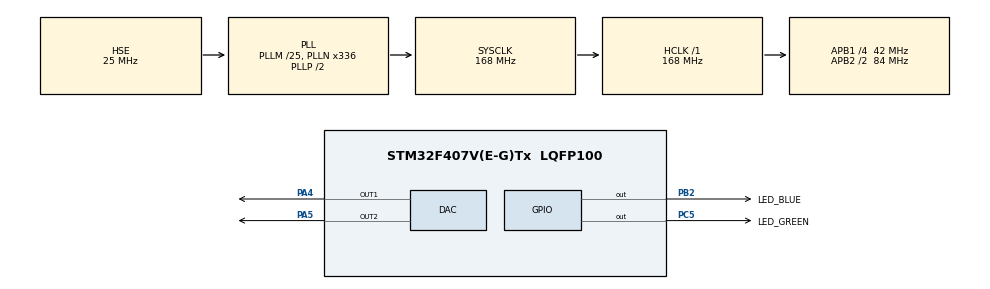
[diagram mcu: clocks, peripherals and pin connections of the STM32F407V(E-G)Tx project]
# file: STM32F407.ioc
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DAC.DAC_OutputBuffer=DAC_OUTPUTBUFFER_DISABLE
DAC.DAC_OutputBuffer2=DAC_OUTPUTBUFFER_DISABLE
DAC.DAC_Trigger=DAC_TRIGGER_T6_TRGO
DAC.DAC_Trigger2=DAC_TRIGGER_T6_TRGO
Dma.DAC1.0.Direction=DMA_MEMORY_TO_PERIPH
Dma.DAC1.0.FIFOMode=DMA_FIFOMODE_DISABLE
Dma.DAC1.0.Instance=DMA1_Stream5
Dma.DAC1.0.MemDataAlignment=DMA_MDATAALIGN_HALFWORD
Dma.DAC1.0.MemInc=DMA_MINC_ENABLE
Dma.DAC1.0.Mode=DMA_CIRCULAR
Dma.DAC1.0.PeriphDataAlignment=DMA_PDATAALIGN_HALFWORD
Dma.DAC1.0.PeriphInc=DMA_PINC_DISABLE
Dma.DAC1.0.Priority=DMA_PRIORITY_LOW
Dma.DAC2.1.Direction=DMA_MEMORY_TO_PERIPH
Dma.DAC2.1.FIFOMode=DMA_FIFOMODE_DISABLE
Dma.DAC2.1.Instance=DMA1_Stream6
Dma.DAC2.1.MemDataAlignment=DMA_MDATAALIGN_HALFWORD
Dma.DAC2.1.MemInc=DMA_MINC_ENABLE
Dma.DAC2.1.Mode=DMA_CIRCULAR
Dma.DAC2.1.PeriphDataAlignment=DMA_PDATAALIGN_HALFWORD
Dma.DAC2.1.PeriphInc=DMA_PINC_DISABLE
Dma.DAC2.1.Priority=DMA_PRIORITY_LOW
Dma.Request0=DAC1
Dma.Request1=DAC2
Mcu.Family=STM32F4
Mcu.Name=STM32F407V(E-G)Tx
Mcu.Package=LQFP100
NVIC.DMA1_Stream5_IRQn=true\:0\:0\:false\:false\:true\:false\:true\:true
NVIC.DMA1_Stream6_IRQn=true\:0\:0\:false\:false\:true\:false\:true\:true
NVIC.PriorityGroup=NVIC_PRIORITYGROUP_4
PA13.Mode=Serial_Wire
PA13.Signal=SYS_JTMS-SWDIO
PA14.Mode=Serial_Wire
PA14.Signal=SYS_JTCK-SWCLK
PA4.Signal=COMP_DAC1_group
PA5.Signal=COMP_DAC2_group
PB2.GPIO_Label=LED_BLUE
PB2.Signal=GPIO_Output
PC5.GPIO_Label=LED_GREEN
PC5.Signal=GPIO_Output
PH0-OSC_IN.Mode=HSE-External-Oscillator
PH0-OSC_IN.Signal=RCC_OSC_IN
PH1-OSC_OUT.Mode=HSE-External-Oscillator
PH1-OSC_OUT.Signal=RCC_OSC_OUT
ProjectManager.HeapSize=0x200
ProjectManager.StackSize=0x1000
ProjectManager.TargetToolchain=MDK-ARM V5.32
RCC.48MHZClocksFreq_Value=84000000
RCC.AHBFreq_Value=168000000
RCC.APB1CLKDivider=RCC_HCLK_DIV4
RCC.APB1Freq_Value=42000000
RCC.APB1TimFreq_Value=84000000
RCC.APB2CLKDivider=RCC_HCLK_DIV2
RCC.APB2Freq_Value=84000000
RCC.APB2TimFreq_Value=168000000
RCC.CortexFreq_Value=168000000
RCC.HCLKFreq_Value=168000000
RCC.HSE_VALUE=25000000
RCC.HSI_VALUE=16000000
RCC.LSE_VALUE=32768
RCC.PLLM=25
RCC.PLLN=336
RCC.PLLSourceVirtual=RCC_PLLSOURCE_HSE
RCC.SYSCLKFreq_VALUE=168000000
RCC.SYSCLKSource=RCC_SYSCLKSOURCE_PLLCLK
RCC.VCOOutputFreq_Value=336000000
SH.COMP_DAC1_group.0=DAC_OUT1,DAC_OUT1
SH.COMP_DAC2_group.0=DAC_OUT2,DAC_OUT2
TIM6.AutoReloadPreload=TIM_AUTORELOAD_PRELOAD_ENABLE
TIM6.Period=66-1
TIM6.TIM_MasterOutputTrigger=TIM_TRGO_UPDATE
VP_TIM6_VS_ClockSourceINT.Mode=Enable_Timer
board=custom

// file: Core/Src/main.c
/* USER CODE BEGIN Header */
/**==================================================================================================================
 ** 【代码编写】  魔女开发板团队
 ** 【淘    宝】  魔女开发板       https://demoboard.taobao.com
 **==================================================================================================================
 ** 【实验名称】  DAC + TIM6 + DMA 双通道正弦波输出
 **
 ** 【适用平台】  STM32F407 + CubeIDE + HAL库
 **
 ** 【实验目标】  1. 实现 PA4、PA5 双通道同步输出高精度正弦波
 **               2. 采用 168 点动态计算波形表，输出平滑无失真
 **               3. TIM6 硬件触发 + DMA 循环搬运，CPU 零占用
 **               4. 系统运行时 LED 周期性闪烁，指示工作状态
 **
 ** 【引脚接线】  DAC_OUT1 → PA4
 **               DAC_OUT2 → PA5
 **               系统运行指示灯 → PC5
 **
 ** 【 CubeMX 】  1. 开启 DAC 双通道，触发源选择 TIM6_TRGO
 **               2. 开启 TIM6 定时器，配置触发频率
 **               3. 开启 DMA 循环模式，配置存储器到外设传输
 **               4. 配置 UART1 用于调试打印
 **
 ** 【初 始 化】  1. 外设初始化由 CubeMX 自动生成
 **               2. 上电调用 DAC_SineStart() 启动波形输出
 **               3. 全程硬件自动运行，无需主循环干预
 **
 ** 【重点说明】  1. 正弦波数据动态生成，可灵活修改点数、幅值、偏置
 **               2. 输出范围 0~3.3V，12 位精度（0~4095）
 **               3. 波形频率由 TIM6 分频/重载值决定
 **               4. 双通道同步输出相同波形
 **
 ** 【移植说明】  1. 修改频率、波形 → 修改 DAC_SineStart里面的参数组合: WAVE_POINTS、MIN/MAX_VALUE 等
 **               2. 修改通道 → 开启对应 DAC 通道 DMA
 **
 ** 【更新记录】  2026-03-26  完善注释
 **
 ** 【备注说明】  版权归魔女科技所有，请勿商用，谢谢！
 **               https://demoboard.taobao.com
 **
==================================================================================================================**/
/* USER CODE END Header */
#include "main.h"
#include "dac.h"
#include "dma.h"
#include "tim.h"
#include "gpio.h"

/* USER CODE BEGIN Includes */
// 用户代码，必须写在配对的BEGIN与END注释之间; 否则,重新生成时会被自动删除;
#include "bsp_UART.h"         // UART通信

/* USER CODE END Includes */

void SystemClock_Config(void);

/* USER CODE BEGIN 0 */
// 用户代码，必须写在配对的BEGIN与END注释之间; 否则,重新生成时会被自动删除;

/******************************************************************************
 * 函数名 : DAC_SineStart
 * 功  能 : 启动DAC正弦波输出 (动态计算波形表)
 * 备  注 : 1. 波点数可通过宏定义WAVE_POINTS灵活调整;
 *          2. 波点数的取值，建议根据 TIM时钟频率即值，如84MHz时钟下，取值21、42、84、168等，能令公式整除，以达到精准的波形频率
 *          2. 输出幅值：[MIN_VALUE, MAX_VALUE]（默认 0-4095）
 *          3. 直流偏置：OFFSET（默认 0）
 *          4. TIM6 更新事件触发，DMA 循环模式
 *          5. 上电重新计算表，调试方便；若需提速，可在调试成型后改用 const 静态表
 * 参  数 : 无 (由函数内宏定义控制)
 * 返回值 : 无
 ******************************************************************************/
#include "math.h"

void DAC_SineStart(void)
{
    /* 1、定义参数 */
    #define WAVE_POINTS     168                      // 正弦数据点数; 取值建议根据 TIM时钟频率即值，如84MHz时钟下，取值21、42、84、168等，能令公式整除，以达到精准的波形频率
    #define MIN_VALUE         0                      // 正弦数据最小值; 即，波底的DAC值; 取值范围：0~4095 (对应0V~3.3V); 用于适配不同设备的工作安全范围，减少硬件电路的设计修改;
    #define MAX_VALUE      4095                      // 正弦数据最大值; 即，波顶的DAC值; 取值范围：0~4095 (对应0V~3.3V); 用于适配不同设备的工作安全范围，减少硬件电路的设计修改;
    #define OFFSET            0                      // 偏移量; 控制波形的直流偏置 (垂直位置)
    #define SCALE ((MAX_VALUE - MIN_VALUE) / 2.0)    // 缩放系数; 控制波形的幅度 (振幅大小)

    /* 2、开辟缓存 */
    static uint16_t sineData[WAVE_POINTS] = { 0 };   // 存储正弦波点值

    /* 3、生成无缝正弦表
          计算法：上电实时算表
          优点：调试阶段可随时改 WAVE_POINTS / MIN / MAX，方便灵活调试出需要的波形、振幅
          缺点：每次上电运行都得跑一遍 sin()，启动时间随点数线性增加; 调试定型后建议改用 const 静态表，上电即用，零计算延时
    */
    for (uint16_t i = 0; i < WAVE_POINTS; i++)
    {
        double x = (double)i * (2.0 * 3.14159265 / WAVE_POINTS);              // 周期内均匀采样; 将索引转换为0到2π之间的值
        double sinValue = sin(x);                                             // 计算正弦值
        sineData[i] = (uint16_t)(lround((sinValue + 1.0) * SCALE + OFFSET));  // 缩放和平移正弦值

    }

    /* 4、启动 TIM */
    HAL_TIM_Base_Start(&htim6);                                               // 启动TIM。每个更新事件(计数达到一周期)，由硬件发出脉冲信号触发DAC转换一次

    /* 5、启动DAC的DMA传输 */
    HAL_DAC_Start_DMA(&hdac, DAC_CHANNEL_1, (uint32_t *)sineData, WAVE_POINTS, DAC_ALIGN_12B_R);    // 启动DAC通道1的DMA传输，数据输出至PA4引脚
    HAL_DAC_Start_DMA(&hdac, DAC_CHANNEL_2, (uint32_t *)sineData, WAVE_POINTS, DAC_ALIGN_12B_R);    // 启动DAC通道2的DMA传输，数据输出至PA5引脚
}

/* USER CODE END 0 */

int main(void)
{

    /* USER CODE BEGIN 1 */

    /* 说明：
     * 1. 不要删除CubeMX生成的注释行（形如 USER CODE BEGIN/END），这些注释用于代码重新生成时的定位
     * 2. 所有用户自定义代码必须写在对应的BEGIN与END注释行之间，否则重新生成时会被覆盖
     * 3. 主要初始化函数说明：
     *    - HAL_Init()            初始化HAL库，配置中断优先级、系统时基等
     *    - SystemClock_Config()  配置系统时钟
     *    - MX_GPIO_Init()        初始化GPIO引脚（仅包含推挽输出、中断触发等配置）
     *    - 外设功能引脚（如UART、SPI等）的初始化在各自的功能文件中
     */

    /* USER CODE END 1 */

    /* MCU Configuration--------------------------------------------------------*/

    /* Reset of all peripherals, Initializes the Flash interface and the Systick. */
    HAL_Init();

    /* Configure the system clock */
    SystemClock_Config();

    /* Initialize all configured peripherals */
    MX_GPIO_Init();
    MX_DMA_Init();
    MX_DAC_Init();
    MX_TIM6_Init();
    /* USER CODE BEGIN 2 */
    // 用户代码，必须写在配对的BEGIN与END注释之间; 否则,重新生成时会被自动删除;

    UART1_Init(115200);              // UART1初始化

    DAC_SineStart();                 // 启动波形输出

    /* USER CODE END 2 */

    /* Infinite loop */
    /* USER CODE BEGIN WHILE */
    while (1)
    {

        /** 每500ms规律地闪烁绿色LED, 便于观察程序是否运行、卡死 **/
        static uint32_t lastTime_500ms = 0;                                     // 定义静态变量，用于记录上次执行这个任务的时间点(单位：毫秒)
        if (HAL_GetTick() - lastTime_500ms >= 500)                              // 检查当前时间距离上次执行是否已经过了500ms; HAL_GetTick()是获取启动后经过的毫秒数;
        {
            HAL_GPIO_TogglePin(GPIOC, GPIO_PIN_5);                              // 控制绿色LED引脚电平翻转(PC5); 规律地闪烁LED，方便外部观察系统是否正常运行
            lastTime_500ms =   HAL_GetTick();                                   // 记录当前时间，作为新的基准点，为下一次判断做准备
        }

        /* USER CODE END WHILE */

    }
}

void SystemClock_Config(void)
{
    RCC_OscInitTypeDef RCC_OscInitStruct = {0};
    RCC_ClkInitTypeDef RCC_ClkInitStruct = {0};

    /** Configure the main internal regulator output voltage
    */
    __HAL_RCC_PWR_CLK_ENABLE();
    __HAL_PWR_VOLTAGESCALING_CONFIG(PWR_REGULATOR_VOLTAGE_SCALE1);

    /** Initializes the RCC Oscillators according to the specified parameters
    * in the RCC_OscInitTypeDef structure.
    */
    RCC_OscInitStruct.OscillatorType = RCC_OSCILLATORTYPE_HSE;
    RCC_OscInitStruct.HSEState = RCC_HSE_ON;
    RCC_OscInitStruct.PLL.PLLState = RCC_PLL_ON;
    RCC_OscInitStruct.PLL.PLLSource = RCC_PLLSOURCE_HSE;
    RCC_OscInitStruct.PLL.PLLM = 25;
    RCC_OscInitStruct.PLL.PLLN = 336;
    RCC_OscInitStruct.PLL.PLLP = RCC_PLLP_DIV2;
    RCC_OscInitStruct.PLL.PLLQ = 4;
    if (HAL_RCC_OscConfig(&RCC_OscInitStruct) != HAL_OK)
    {
        Error_Handler();
    }

    /** Initializes the CPU, AHB and APB buses clocks
    */
    RCC_ClkInitStruct.ClockType = RCC_CLOCKTYPE_HCLK | RCC_CLOCKTYPE_SYSCLK
                                  | RCC_CLOCKTYPE_PCLK1 | RCC_CLOCKTYPE_PCLK2;
    RCC_ClkInitStruct.SYSCLKSource = RCC_SYSCLKSOURCE_PLLCLK;
    RCC_ClkInitStruct.AHBCLKDivider = RCC_SYSCLK_DIV1;
    RCC_ClkInitStruct.APB1CLKDivider = RCC_HCLK_DIV4;
    RCC_ClkInitStruct.APB2CLKDivider = RCC_HCLK_DIV2;

    if (HAL_RCC_ClockConfig(&RCC_ClkInitStruct, FLASH_LATENCY_5) != HAL_OK)
    {
        Error_Handler();
    }
}

void Error_Handler(void)
{
    __disable_irq();
    while (1)
    {
    }
}
